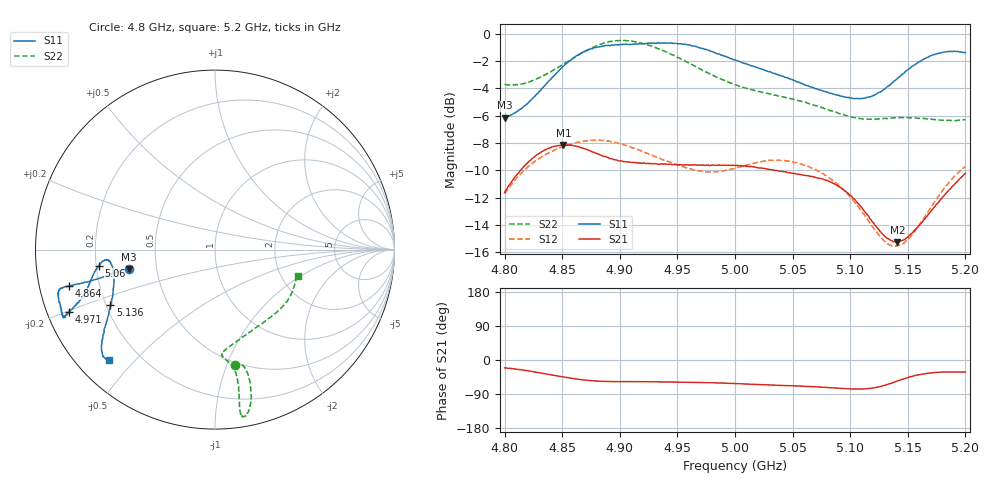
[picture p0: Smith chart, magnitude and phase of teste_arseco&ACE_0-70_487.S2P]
! Network Analyzer HP8722D
! Hewlett-Packard
! Data name: Linha & Wilkinson
! Saver's name: Rodrigo Anjos
! Comments: Teste da utilização de aquisição
! continua pelo VNA HP8722D
! Time and date: 8/5/2025 16:49
!  Frequency  S11  S21  S12  S22
# HZ  S  MA R 50
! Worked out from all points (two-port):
!   401 points, 4.8 GHz to 5.2 GHz, reference 50 ohm
!   highest |S21| = -8.13 dB at 4.851 GHz (marker M1); lowest = -15.2 dB at 5.141 GHz (marker M2)
!   |S21| within 3 dB of the highest: 4.803 GHz to 5.089 GHz (285.6 MHz wide, 5.77 % of centre); 5.189265 GHz to end of sweep
!   lowest |S11| = -6.1 dB at 4.8 GHz (marker M3), VSWR 2.95, Z = 17.1 - j4.9 ohm
!   |S11| at or under -10 dB: nowhere
!   |S22| runs from -6.4 to -0.5 dB; largest |S21 - S12| = 0.62
!   S11 on the Smith chart (normalised r, x): 4.8 GHz: 0.34, -0.10; 4.864 GHz: 0.09, -0.12; 4.971 GHz: 0.06, -0.20; 5.06 GHz: 0.21, -0.07; 5.136 GHz: 0.22, -0.24; 5.2 GHz: 0.09, -0.42
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4.8e9  0.4934 -167.3  0.263 -20.8  0.2598 -142.0  0.652 -80.2
4.826e9  0.5895 -166.7  0.3551 -31.5  0.3401 -146.1  0.679 -75.9
4.851e9  0.7606 -165.9  0.3922 -44.9  0.3865 -150.6  0.7747 -75.3
4.864e9  0.8387 -166.0  0.3869 -50.9  0.4008 -152.6  0.8352 -76.1
4.867e9  0.8506 -165.9  0.383 -52.1  0.403 -153.1  0.8506 -76.3
4.898e9  0.911 -163.2  0.3442 -57.0  0.3975 -157.1  0.9434 -79.7
4.914e9  0.9173 -159.9  0.3375 -56.8  0.3778 -157.5  0.9344 -80.9
4.934e9  0.9273 -156.7  0.3326 -57.8  0.3517 -156.0  0.8792 -81.1
4.951e9  0.9186 -155.8  0.3317 -58.5  0.3305 -152.9  0.8172 -80.5
4.971e9  0.8837 -156.8  0.3305 -59.6  0.314 -146.8  0.7398 -80.1
5e9  0.8019 -159.4  0.3297 -62.2  0.3224 -137.8  0.6508 -81.8
5.033e9  0.7173 -165.5  0.3181 -66.4  0.3439 -135.2  0.5983 -85.9
5.06e9  0.6513 -172.1  0.3036 -69.1  0.3304 -137.1  0.562 -84.3
5.067e9  0.6371 -173.5  0.3007 -70.2  0.3222 -137.9  0.5508 -82.6
5.087e9  0.5994 -174.5  0.2814 -74.2  0.2854 -139.6  0.5173 -74.4
5.102e9  0.5804 -171.0  0.2515 -76.5  0.2475 -139.3  0.4946 -65.0
5.134e9  0.6471 -153.1  0.1764 -62.8  0.1691 -118.4  0.492 -42.8
5.136e9  0.6597 -152.0  0.1752 -61.0  0.1675 -115.9  0.4915 -41.6
5.141e9  0.6871 -149.4  0.1729 -55.2  0.1674 -109.2  0.4932 -38.7
5.153e9  0.7559 -144.6  0.1855 -43.8  0.1826 -94.5  0.4928 -32.5
5.171e9  0.8336 -139.4  0.2266 -33.7  0.235 -81.5  0.4859 -24.8
5.2e9  0.8521 -134.0  0.3084 -32.1  0.3269 -77.7  0.4848 -17.7
